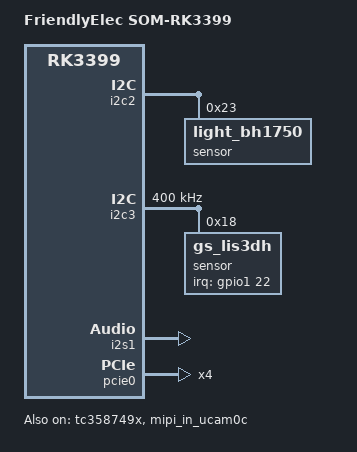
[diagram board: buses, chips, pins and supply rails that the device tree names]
// SPDX-License-Identifier: (GPL-2.0+ OR MIT)
/*
 * Copyright (c) 2020 FriendlyElec Computer Tech. Co., Ltd.
 * (http://www.friendlyarm.com)
 */

/dts-v1/;
#include <dt-bindings/sensor-dev.h>
#include "rk3399-nanopi4-common.dtsi"

/ {
	model = "FriendlyElec SOM-RK3399";
	compatible = "friendlyelec,som-rk3399", "rockchip,rk3399";

	hdmiin-sound {
		compatible = "rockchip,rockchip-rt5651-sound";
		rockchip,cpu = <&i2s1>;
		rockchip,codec = <&rt5651 &rt5651>;
		pinctrl-names = "default";
		pinctrl-0 = <&hp_det>;
		status = "okay";
	};
};

&mach {
	hwrev = <6>;
	model = "SOM-RK3399";
};

&i2c2 {
    sensor@23 {
        compatible = "light_bh1750";
        reg = <0x23>;
        status = "okay";

        type = <SENSOR_TYPE_LIGHT>;
        poll_delay_ms = <64>;
    };
};

&i2c3 {
	status = "okay";
	i2c-scl-rising-time-ns = <160>;
	i2c-scl-falling-time-ns = <30>;
	clock-frequency = <400000>;

	sensor@18 {
		status = "okay";
		compatible = "gs_lis3dh";
		reg = <0x18>;
		type = <SENSOR_TYPE_ACCEL>;
		irq-gpio = <&gpio1 22 IRQ_TYPE_LEVEL_LOW>;
		irq_enable = <0>;
		poll_delay_ms = <64>;
		layout = <2>;
		reprobe_en = <1>;
	};
};

&i2s1 {
	status = "okay";
	rockchip,playback-channels = <2>;
	rockchip,capture-channels = <2>;
	#sound-dai-cells = <0>;
};

&pcie0 {
	ep-gpios = <&gpio2 4 GPIO_ACTIVE_HIGH>;
	pinctrl-names = "default";
	pinctrl-0 = <&pcie_gpios>;
	num-lanes = <4>;
	max-link-speed = <2>;
};

&rt5651_card {
	status = "disabled";

	simple-audio-card,cpu {
		sound-dai = <&i2s1>;
	};
};

&tc358749x {
	rockchip,camera-module-index = <0>;
	rockchip,camera-module-facing = "back";
	rockchip,camera-module-name = "HDMIIN";
	rockchip,camera-module-lens-name = "NA";

	status = "okay";
};

&mipi_in_ucam0c {
	status = "okay";
};

&pinctrl {
	hdmiin {
		hdmiin_gpios: hdmiin-gpios {
			rockchip,pins =
				<1 0 RK_FUNC_GPIO &pcfg_output_high>,
				<2 6 RK_FUNC_GPIO &pcfg_output_high>,
				<2 5 RK_FUNC_GPIO &pcfg_output_high>,
				<0 2 RK_FUNC_GPIO &pcfg_pull_none>;
		};
	};
};
